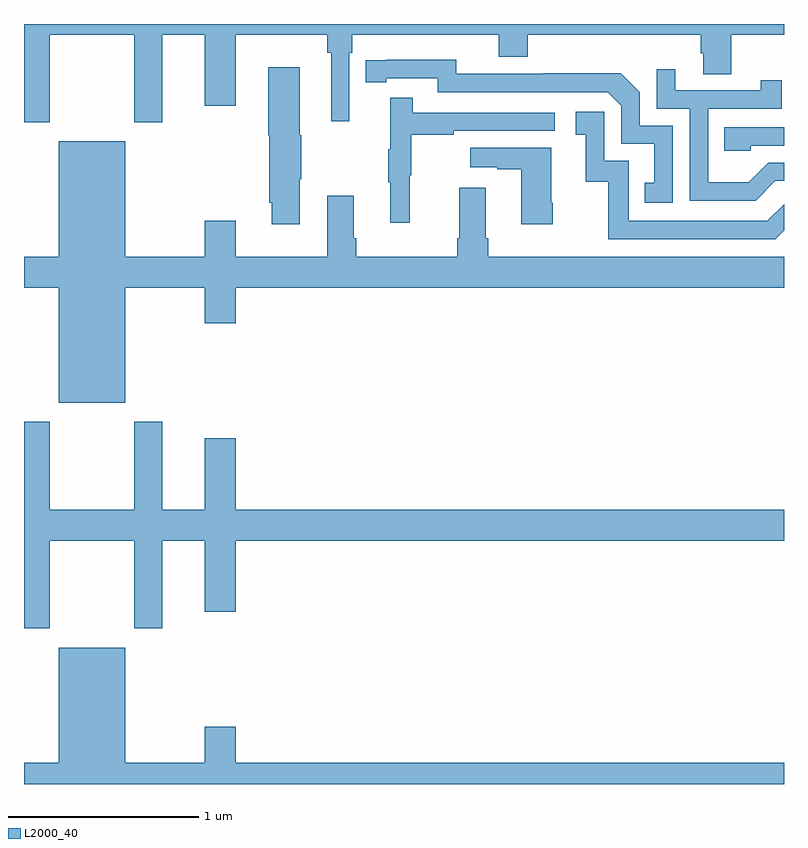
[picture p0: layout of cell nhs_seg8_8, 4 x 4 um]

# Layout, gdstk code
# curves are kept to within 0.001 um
import gdstk
lib = gdstk.Library(unit=1e-6, precision=1e-09)
def P(c, l, *ps):  # polygons
    for p in ps: c.add(gdstk.Polygon(p, *l))
L2000_40 = (2000, 40)

nhs_seg8_8 = lib.new_cell('nhs_seg8_8')
P(nhs_seg8_8, L2000_40, [(111.135,1105.844),(111.58,1105.844),(111.58,1105.383),(111.727,1105.383),(111.727,1105.844),(111.95,1105.844),(111.95,1105.47),(112.114,1105.47),(112.114,1105.844),(112.597,1105.844),(112.597,1105.748),(112.616,1105.748),(112.616,1105.389),(112.713,1105.389),(112.713,1105.748),(112.727,1105.748),(112.727,1105.844),(113.498,1105.844),(113.498,1105.727),(113.651,1105.727),(113.651,1105.844),(114.563,1105.844),(114.563,1105.746),(114.575,1105.746),(114.575,1105.636),(114.723,1105.636),(114.723,1105.844),(115,1105.844),(115,1105.9),(111,1105.9),(111,1105.383),(111.135,1105.383)],
  [(114.414,1105.365),(114.24,1105.365),(114.24,1105.542),(114.142,1105.64),(113.734,1105.64),(113.734,1105.638),(113.274,1105.638),(113.274,1105.711),(112.798,1105.71),(112.798,1105.594),(112.906,1105.594),(112.906,1105.614),(113.178,1105.614),(113.178,1105.542),(114.072,1105.542),(114.144,1105.47),(114.144,1105.269),(114.317,1105.269),(114.317,1105.065),(114.268,1105.065),(114.268,1104.96),(114.414,1104.96)],
  [(112.45,1105.084),(112.458,1105.084),(112.458,1105.314),(112.45,1105.314),(112.45,1105.672),(112.286,1105.672),(112.286,1105.314),(112.292,1105.314),(112.292,1104.958),(112.304,1104.958),(112.304,1104.846),(112.45,1104.846)],
  [(114.955,1105.074),(115,1105.074),(115,1105.17),(114.918,1105.17),(114.814,1105.066),(114.6,1105.066),(114.6,1105.455),(114.989,1105.455),(114.989,1105.603),(114.878,1105.603),(114.878,1105.551),(114.427,1105.551),(114.427,1105.663),(114.33,1105.663),(114.33,1105.455),(114.504,1105.455),(114.504,1104.969),(114.85,1104.969)],
  [(113.03,1105.104),(113.038,1105.104),(113.038,1105.318),(113.261,1105.318),(113.261,1105.338),(113.794,1105.338),(113.794,1105.434),(113.045,1105.434),(113.045,1105.513),(112.928,1105.513),(112.928,1105.241),(112.917,1105.241),(112.917,1105.067),(112.928,1105.067),(112.928,1104.855),(113.03,1104.855)],
  [(115,1104.814),(115,1104.952),(114.912,1104.864),(114.183,1104.864),(114.183,1105.179),(114.054,1105.179),(114.054,1105.438),(113.904,1105.438),(113.904,1105.317),(113.957,1105.317),(113.957,1105.071),(114.075,1105.071),(114.075,1104.768),(114.954,1104.768)],
  [(114.825,1105.26),(115,1105.26),(115,1105.356),(114.685,1105.356),(114.685,1105.233),(114.825,1105.233)],
  [(111.532,1104.512),(111.95,1104.512),(111.95,1104.324),(112.114,1104.324),(112.114,1104.512),(115,1104.512),(115,1104.676),(113.444,1104.676),(113.444,1104.772),(113.431,1104.772),(113.431,1105.039),(113.291,1105.039),(113.291,1104.772),(113.279,1104.772),(113.279,1104.676),(112.748,1104.676),(112.748,1104.772),(112.735,1104.772),(112.735,1104.997),(112.595,1104.997),(112.595,1104.676),(112.114,1104.676),(112.114,1104.865),(111.95,1104.865),(111.95,1104.676),(111.532,1104.676),(111.532,1105.282),(111.182,1105.282),(111.182,1104.676),(111,1104.676),(111,1104.512),(111.182,1104.512),(111.182,1103.906),(111.532,1103.906)],
  [(113.784,1104.958),(113.776,1104.958),(113.776,1105.249),(113.349,1105.249),(113.349,1105.145),(113.492,1105.145),(113.492,1105.135),(113.618,1105.135),(113.618,1104.846),(113.784,1104.846)],
  [(111.135,1103.18),(111.58,1103.18),(111.58,1102.719),(111.727,1102.719),(111.727,1103.18),(111.95,1103.18),(111.95,1102.806),(112.114,1102.806),(112.114,1103.18),(115,1103.18),(115,1103.344),(112.114,1103.344),(112.114,1103.719),(111.95,1103.719),(111.95,1103.344),(111.727,1103.344),(111.727,1103.806),(111.58,1103.806),(111.58,1103.344),(111.135,1103.344),(111.135,1103.806),(111,1103.806),(111,1102.719),(111.135,1102.719)],
  [(115,1102.012),(112.114,1102.012),(112.114,1102.201),(111.95,1102.201),(111.95,1102.012),(111.532,1102.012),(111.532,1102.618),(111.182,1102.618),(111.182,1102.012),(111,1102.012),(111,1101.9),(115,1101.9)])

lib.write_gds('nhs_seg8_8.gds')
